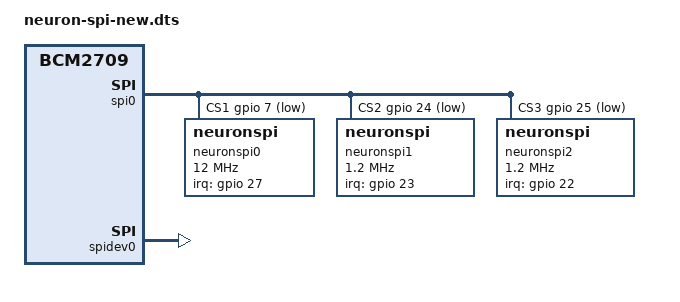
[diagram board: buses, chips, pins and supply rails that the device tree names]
/dts-v1/;
/plugin/;

/ {
    compatible = "brcm,bcm2835", "brcm,bcm2836", "brcm,bcm2708",
"brcm,bcm2709";

    fragment@0 {
       target = <&spi0>;
       frag0: __overlay__ {
          #address-cells = <1>;
          #size-cells = <0>;
          status = "okay";
	  pinctrl-0 = <&spi0_pins &spi0_cs_pins>;
	  cs-gpios = <&gpio 8 1>, <&gpio 7 1>, <&gpio 24 1>, <&gpio 25 1>;
	  neuronspi0: neuronspi@0 {
	     compatible = "neuronspi";
	     reg = <1>;
	     #address-cells = <1>;
	     #size-cells = <0>;
	     spi-max-frequency = <12000000>;
	     pinctrl-0 = <&neuron_0_irq_pin>;
	     pinctrl-names = "default";
	     interrupt-parent = <&gpio>;
	     interrupts = <27 0x1>;
	     status = "okay";
	  };
	  neuronspi1: neuronspi@1 {
	     compatible = "neuronspi";
	     reg = <2>;
	     #address-cells = <1>;
	     #size-cells = <0>;
	     spi-max-frequency = <1200000>;
	     pinctrl-0 = <&neuron_1_irq_pin>;
	     pinctrl-names = "default";
	     interrupt-parent = <&gpio>;
	     interrupts = <23 0x1>;
	     status = "okay";
	  };
	  neuronspi2: neuronspi@2 {
	     compatible = "neuronspi";
	     reg = <3>;
	     #address-cells = <1>;
	     #size-cells = <0>;
	     spi-max-frequency = <1200000>;
	     pinctrl-names = "default";
	     pinctrl-0 = <&neuron_2_irq_pin>;
	     interrupt-parent = <&gpio>;
	     interrupts = <22 0x1>;
	     status = "okay";
	  }; 
       };
    };

    fragment@1 {
       target = <&spidev0>;
       __overlay__ {
       		status = "okay";
	};
    };

    fragment@2 {
    	target = <&spidev1>;
	__overlay__ {
		status = "disabled";
	};
    };

    fragment@3 {
    	target = <&gpio>;
	__overlay__ {
		spi0_cs_pins {
			brcm,pins = <8 7 24 25>;
			brcm,function = <1>;
			brcm,pull = <0>;
		};
		neuron_0_irq_pin: neuron_0_irq_pin {
			brcm,pins = <27>;
			brcm,function = <0>;
			brcm,pull = <1>;
		};
		neuron_1_irq_pin: neuron_1_irq_pin {
			brcm,pins = <23>;
			brcm,function = <0>;
			brcm,pull = <1>;
		};
		neuron_2_irq_pin: neuron_2_irq_pin {
			brcm,pins = <22>;
			brcm,function = <0>;
			brcm,pull = <1>;
		};
	};

    };

    __overrides__ {
    	cs0_pin = <&frag0>,"cs-gpios:4", <&spi0_cs_pins>, "brcm,pins:0";
	cs1_pin = <&frag0>,"cs-gpios:16", <&spi0_cs_pins>,"brcm,pins:4";
	cs2_pin = <&frag0>,"cs-gpios:40", <&spi0_cs_pins>,"brcm,pins:12";
	cs3_pin = <&frag0>,"cs-gpios:28", <&spi0_cs_pins>,"brcm,pins:8";	
	neuron_irq_0 = <&neuronspi0>,"interrupts:0", <&neuron_0_irq_pin>,"brcm,pins:0";
	neuron_irq_1 = <&neuronspi1>,"interrupts:0", <&neuron_1_irq_pin>,"brcm,pins:0";
	neuron_irq_2 = <&neuronspi2>,"interrupts:0", <&neuron_2_irq_pin>,"brcm,pins:0";
    };
};

